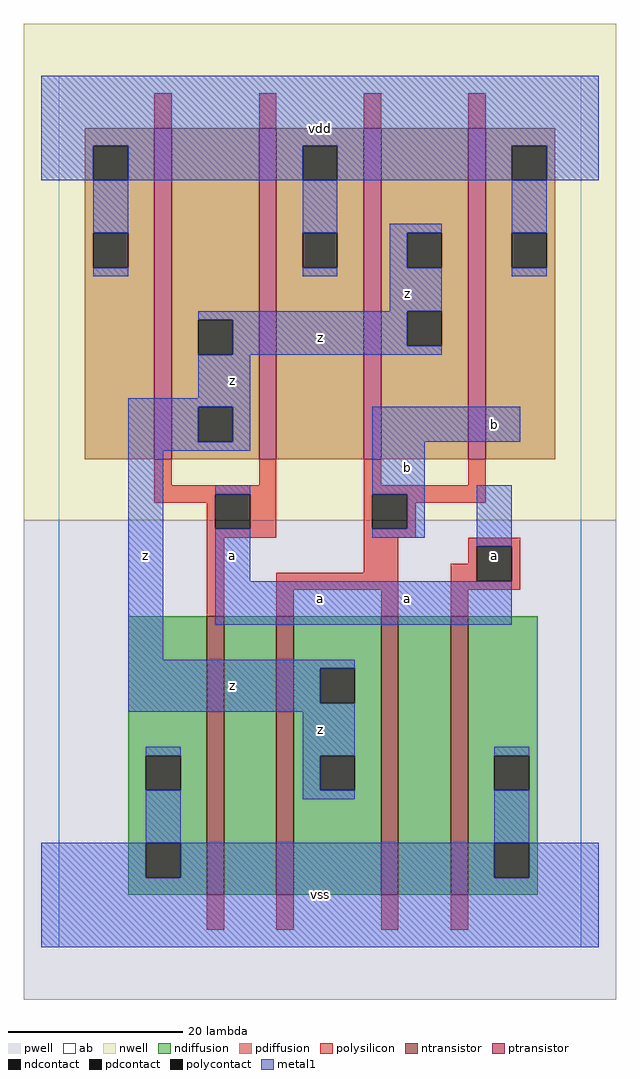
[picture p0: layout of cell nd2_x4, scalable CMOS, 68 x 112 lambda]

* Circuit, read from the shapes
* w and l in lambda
.subckt nd2_x4 a b vdd vss z
M1 n1 a vss VSUBS nfet w=32 l=2
M2 z b n1 VSUBS nfet w=32 l=2
M3 n2 b z VSUBS nfet w=32 l=2
M4 vss a n2 VSUBS nfet w=32 l=2
M5 z a vdd n3 pfet w=38 l=2 m=2
M6 z b vdd n3 pfet w=38 l=2 m=2
.ends

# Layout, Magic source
magic
tech scmos
<< ab >>
rect 0 0 60 100
<< pwell >>
rect -4 -6 64 49
<< nwell >>
rect -4 49 64 106
<< polysilicon >>
rect 11 94 13 98
rect 23 94 25 98
rect 35 94 37 98
rect 47 94 49 98
rect 11 53 13 56
rect 23 53 25 56
rect 11 52 25 53
rect 11 51 18 52
rect 17 48 18 51
rect 22 48 25 52
rect 17 47 25 48
rect 35 53 37 56
rect 47 53 49 56
rect 35 52 49 53
rect 35 48 36 52
rect 40 51 49 52
rect 40 48 41 51
rect 35 47 41 48
rect 17 38 19 47
rect 35 43 39 47
rect 47 46 53 47
rect 47 44 48 46
rect 25 41 39 43
rect 25 38 27 41
rect 37 38 39 41
rect 45 42 48 44
rect 52 42 53 46
rect 45 41 53 42
rect 45 38 47 41
rect 17 2 19 6
rect 25 2 27 6
rect 37 2 39 6
rect 45 2 47 6
<< ndiffusion >>
rect 8 22 17 38
rect 8 18 10 22
rect 14 18 17 22
rect 8 12 17 18
rect 8 8 10 12
rect 14 8 17 12
rect 8 6 17 8
rect 19 6 25 38
rect 27 32 37 38
rect 27 28 30 32
rect 34 28 37 32
rect 27 22 37 28
rect 27 18 30 22
rect 34 18 37 22
rect 27 6 37 18
rect 39 6 45 38
rect 47 22 55 38
rect 47 18 50 22
rect 54 18 55 22
rect 47 12 55 18
rect 47 8 50 12
rect 54 8 55 12
rect 47 6 55 8
<< pdiffusion >>
rect 3 92 11 94
rect 3 88 4 92
rect 8 88 11 92
rect 3 82 11 88
rect 3 78 4 82
rect 8 78 11 82
rect 3 56 11 78
rect 13 72 23 94
rect 13 68 16 72
rect 20 68 23 72
rect 13 62 23 68
rect 13 58 16 62
rect 20 58 23 62
rect 13 56 23 58
rect 25 92 35 94
rect 25 88 28 92
rect 32 88 35 92
rect 25 82 35 88
rect 25 78 28 82
rect 32 78 35 82
rect 25 56 35 78
rect 37 82 47 94
rect 37 78 40 82
rect 44 78 47 82
rect 37 73 47 78
rect 37 69 40 73
rect 44 69 47 73
rect 37 56 47 69
rect 49 92 57 94
rect 49 88 52 92
rect 56 88 57 92
rect 49 82 57 88
rect 49 78 52 82
rect 56 78 57 82
rect 49 56 57 78
<< metal1 >>
rect -2 92 62 100
rect -2 88 4 92
rect 8 88 28 92
rect 32 88 52 92
rect 56 88 62 92
rect 4 82 8 88
rect 4 77 8 78
rect 28 82 32 88
rect 28 77 32 78
rect 38 82 44 83
rect 38 78 40 82
rect 38 73 44 78
rect 52 82 56 88
rect 52 77 56 78
rect 16 72 40 73
rect 20 69 40 72
rect 20 68 44 69
rect 16 63 22 68
rect 8 62 22 63
rect 8 58 16 62
rect 20 58 22 62
rect 8 57 22 58
rect 36 58 53 62
rect 8 33 12 57
rect 18 52 22 53
rect 18 42 22 48
rect 36 52 42 58
rect 40 48 42 52
rect 36 47 42 48
rect 48 46 52 53
rect 18 37 52 42
rect 8 32 34 33
rect 8 28 30 32
rect 8 27 34 28
rect 10 22 14 23
rect 10 12 14 18
rect 28 22 34 27
rect 28 18 30 22
rect 28 17 34 18
rect 50 22 54 23
rect 50 12 54 18
rect -2 8 10 12
rect 14 8 50 12
rect 54 8 62 12
rect -2 0 62 8
<< ntransistor >>
rect 17 6 19 38
rect 25 6 27 38
rect 37 6 39 38
rect 45 6 47 38
<< ptransistor >>
rect 11 56 13 94
rect 23 56 25 94
rect 35 56 37 94
rect 47 56 49 94
<< polycontact >>
rect 18 48 22 52
rect 36 48 40 52
rect 48 42 52 46
<< ndcontact >>
rect 10 18 14 22
rect 10 8 14 12
rect 30 28 34 32
rect 30 18 34 22
rect 50 18 54 22
rect 50 8 54 12
<< pdcontact >>
rect 4 88 8 92
rect 4 78 8 82
rect 16 68 20 72
rect 16 58 20 62
rect 28 88 32 92
rect 28 78 32 82
rect 40 78 44 82
rect 40 69 44 73
rect 52 88 56 92
rect 52 78 56 82
<< labels >>
rlabel metal1 20 30 20 30 6 z
rlabel metal1 20 30 20 30 6 z
rlabel metal1 10 45 10 45 6 z
rlabel metal1 10 45 10 45 6 z
rlabel metal1 20 45 20 45 6 a
rlabel metal1 20 45 20 45 6 a
rlabel metal1 20 65 20 65 6 z
rlabel metal1 20 65 20 65 6 z
rlabel metal1 30 6 30 6 6 vss
rlabel metal1 30 6 30 6 6 vss
rlabel metal1 30 25 30 25 6 z
rlabel metal1 30 25 30 25 6 z
rlabel metal1 30 40 30 40 6 a
rlabel metal1 30 40 30 40 6 a
rlabel metal1 30 70 30 70 6 z
rlabel metal1 30 70 30 70 6 z
rlabel metal1 30 94 30 94 6 vdd
rlabel metal1 30 94 30 94 6 vdd
rlabel metal1 40 40 40 40 6 a
rlabel metal1 40 40 40 40 6 a
rlabel metal1 40 55 40 55 6 b
rlabel metal1 40 55 40 55 6 b
rlabel metal1 40 75 40 75 6 z
rlabel metal1 40 75 40 75 6 z
rlabel polycontact 50 45 50 45 6 a
rlabel polycontact 50 45 50 45 6 a
rlabel metal1 50 60 50 60 6 b
rlabel metal1 50 60 50 60 6 b
<< end >>
